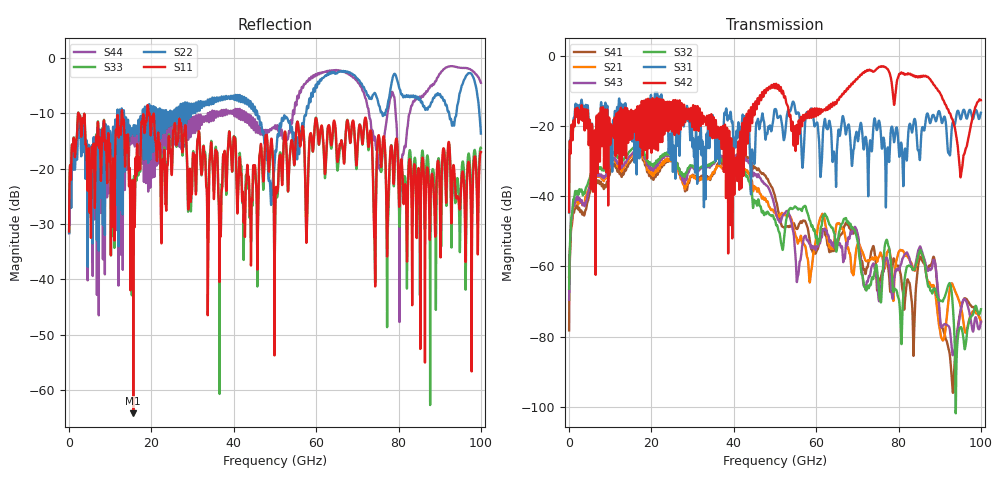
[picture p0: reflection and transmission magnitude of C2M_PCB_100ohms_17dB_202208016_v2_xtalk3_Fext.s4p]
! Info: Touchstone file created by Circ.  Input file=Intel_C2M_200G_5p5in_202208016_staggered.circ
# Hz S RI R 50
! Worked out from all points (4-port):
!   10000 points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, 10 MHz to 100 GHz, reference 50 ohm
!   strongest paths, dB at 10 MHz, 25.01 GHz, 50.01 GHz, 75.01 GHz, 100 GHz:
!     S42: -44.5, -17.8, -9.3, -3.5, -12.7
!     S31: -44.7, -20.9, -15.2, -19.8, -16.2
!     S32: -66.4, -28.8, -46.7, -63.2, -72.2
!     S43: -69.5, -29.1, -43.4, -67.5, -75.7
!     S21: -62.9, -30.0, -44.4, -57.8, -75.9
!     S41: -78.2, -30.0, -40.0, -65.6, -75.6
!   lowest |S11| = -64.2 dB at 15.59 GHz (marker M1), VSWR 1.00, Z = 50 - j0.061 ohm
!   |S11| at or under -10 dB: 2.284 GHz to 12.76 GHz (10.48 GHz wide, 139 % of centre); 12.93 GHz to 18.92 GHz (5.994 GHz wide, 37.6 % of centre); 19.52 GHz to end of sweep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
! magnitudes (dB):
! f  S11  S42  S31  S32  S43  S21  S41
! 10 MHz  -31.3  -44.5  -44.7  -66.4  -69.5  -62.9  -78.2
! 1.44 GHz  -17.9  -17.1  -15.3  -38.7  -41.0  -41.2  -43.1
! 15.59 GHz  -64.2  -15.8  -19.2  -26.2  -27.5  -28.0  -29.2
! 40.06 GHz  -14.2  -34.4  -25.8  -30.8  -28.8  -31.9  -29.6
! 76.17 GHz  -15.2  -3.1  -24.7  -61.5  -62.1  -57.9  -61.5
! 95.18 GHz  -23.3  -33.8  -18.0  -77.3  -72.1  -71.8  -72.1
! 100 GHz  -16.9  -12.7  -16.2  -72.2  -75.7  -75.9  -75.6
